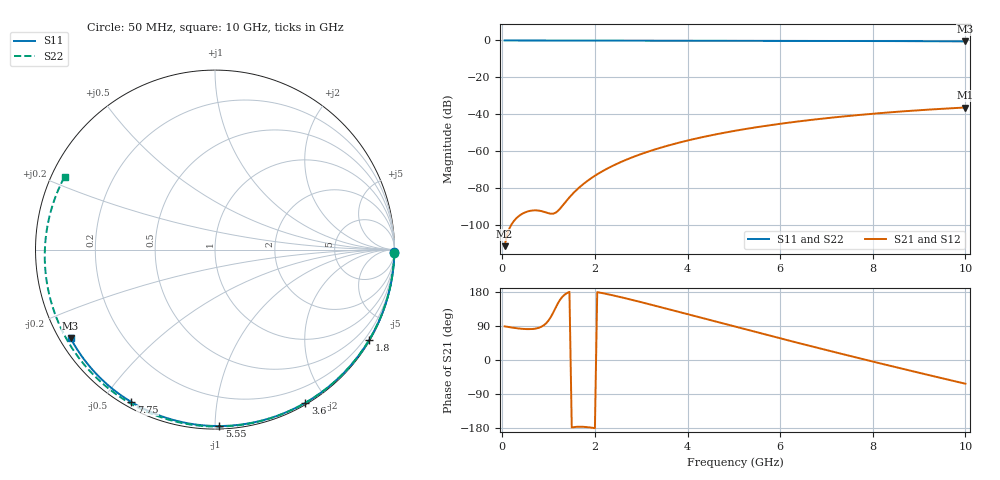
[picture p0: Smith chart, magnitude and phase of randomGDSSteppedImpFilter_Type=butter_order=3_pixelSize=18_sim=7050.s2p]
! freq	dB(S11)	phase(S11)	dB(S12)	phase(S12)
!  dB(S21)	phase(S21)	dB(S22)	phase(S22)
!S-par simulation data
#  GHz  S  DB  R 50
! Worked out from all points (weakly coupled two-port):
!   200 points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, 50 MHz to 10 GHz, reference 50 ohm
!   highest |S21| = -36.33 dB at 10 GHz (marker M1); lowest = -111.4 dB at 50 MHz (marker M2)
!   lowest |S11| = -0.5 dB at 10 GHz (marker M3), VSWR 34.61, Z = 1.56 - j14.1 ohm
!   |S11| at or under -10 dB: nowhere
!   |S22| runs from -0.6 to 0.0 dB; largest |S21 - S12| = 0
!   S11 on the Smith chart (normalised r, x): 50 MHz: open; 1.8 GHz: 0.03, -3.66; 3.6 GHz: 0.02, -1.75; 5.55 GHz: 0.02, -1.02; 7.75 GHz: 0.02, -0.59; 10 GHz: 0.03, -0.28
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0.05  -0.00 -0.8  -111.44 88.9  -111.44 88.9  -0.00 -1.2
0.45  -0.01 -7.7  -93.63 82.0  -93.63 82.0  -0.02 -10.6
0.8  -0.02 -13.7  -92.22 85.5  -92.22 85.5  -0.02 -18.9
1.6  -0.03 -27.2  -81.06 -176.4  -81.06 -176.4  -0.05 -37.4
1.65  -0.04 -28.0  -79.90 -176.1  -79.90 -176.1  -0.05 -38.5
1.75  -0.04 -29.7  -77.77 -176.3  -77.77 -176.3  -0.05 -40.8
1.8  -0.04 -30.5  -76.79 -176.8  -76.79 -176.8  -0.05 -41.9
2.1  -0.05 -35.5  -71.74 177.9  -71.74 177.9  -0.06 -48.6
2.5  -0.05 -42.0  -66.54 167.5  -66.54 167.5  -0.07 -57.5
2.9  -0.06 -48.5  -62.42 155.7  -62.42 155.7  -0.09 -66.1
3.4  -0.08 -56.4  -58.24 140.1  -58.24 140.1  -0.10 -76.7
3.6  -0.08 -59.5  -56.80 133.7  -56.80 133.7  -0.11 -80.8
4.3  -0.10 -70.2  -52.49 111.2  -52.49 111.2  -0.13 -95.0
5.05  -0.13 -81.4  -48.82 87.2  -48.82 87.2  -0.17 -109.7
5.55  -0.15 -88.6  -46.77 71.3  -46.77 71.3  -0.19 -119.3
6.15  -0.17 -97.1  -44.64 52.5  -44.64 52.5  -0.23 -130.6
6.7  -0.20 -104.7  -42.94 35.4  -42.94 35.4  -0.27 -140.9
7.25  -0.24 -112.1  -41.45 18.5  -41.45 18.5  -0.31 -151.1
7.75  -0.28 -118.8  -40.25 3.4  -40.25 3.4  -0.36 -160.6
8.35  -0.33 -126.8  -38.99 -14.6  -38.99 -14.6  -0.42 -172.1
9.2  -0.41 -138.0  -37.47 -39.6  -37.47 -39.6  -0.52 171.0
10  -0.50 -148.5  -36.33 -62.6  -36.33 -62.6  -0.62 154.2
